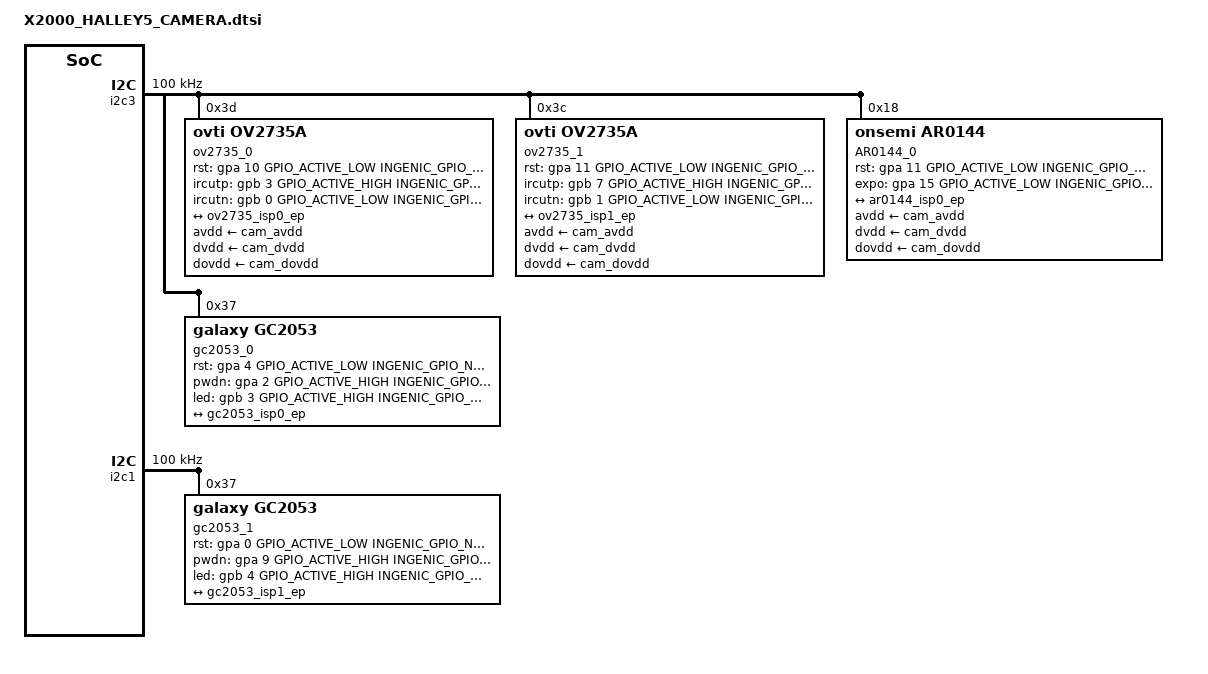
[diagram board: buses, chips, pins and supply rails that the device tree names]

&i2c3 {
	status = "okay";
	clock-frequency = <100000>;
	timeout = <1000>;
	pinctrl-names = "default";
	pinctrl-0 = <&i2c3_pa>, <&cim_vic_mclk_pe>;


	/*RD_X2000_HALLEY5_CAMERA_V4.3 MIPI interface*/
	ov2735_0:ov2735@3d {
		status = "ok";
		compatible = "ovti,ov2735a";
		reg = <0x3d>;

		avdd-supply = <&cam_avdd>;
		dvdd-supply = <&cam_dvdd>;
		dovdd-supply = <&cam_dovdd>;
		ingenic,rst-gpio = <&gpa 10 GPIO_ACTIVE_LOW INGENIC_GPIO_NOBIAS>;
		ingenic,ircutp-gpio = <&gpb 3 GPIO_ACTIVE_HIGH INGENIC_GPIO_NOBIAS>;
		ingenic,ircutn-gpio = <&gpb 0 GPIO_ACTIVE_LOW INGENIC_GPIO_NOBIAS>;

		port {
			ov2735_ep0:endpoint {
				remote-endpoint = <&ov2735_isp0_ep>;
			};
		};
	};

	/*RD_X2000_HALLEY5_CAMERA_V4.3 MIPI interface*/
	ov2735_1:ov2735@3c {
		status = "ok";
		compatible = "ovti,ov2735a";
		reg = <0x3c>;

		avdd-supply = <&cam_avdd>;
		dvdd-supply = <&cam_dvdd>;
		dovdd-supply = <&cam_dovdd>;
		ingenic,rst-gpio = <&gpa 11 GPIO_ACTIVE_LOW INGENIC_GPIO_NOBIAS>;
		ingenic,ircutp-gpio = <&gpb 7 GPIO_ACTIVE_HIGH INGENIC_GPIO_NOBIAS>;
		ingenic,ircutn-gpio = <&gpb 1 GPIO_ACTIVE_LOW INGENIC_GPIO_NOBIAS>;

		port {
			ov2735_ep1:endpoint {
				remote-endpoint = <&ov2735_isp1_ep>;
			};
		};
	};

	/*RD_X2000_HALLEY5_CAMERA_V5.0 MIPI interface*/
	AR0144_0:AR0144@18 {
		status = "ok";
		compatible = "onsemi,ar0144";
		reg = <0x18>;
		pinctrl-names = "default";

		avdd-supply = <&cam_avdd>;
		dvdd-supply = <&cam_dvdd>;
		dovdd-supply = <&cam_dovdd>;
		ingenic,rst-gpio = <&gpa 11 GPIO_ACTIVE_LOW INGENIC_GPIO_NOBIAS>;
		ingenic,expo-gpio = <&gpa 15 GPIO_ACTIVE_LOW INGENIC_GPIO_NOBIAS>;
		ingenic,expo-oe = <&gpa 10 GPIO_ACTIVE_LOW INGENIC_GPIO_NOBIAS>;

		port {
			AR0144_ep0:endpoint {
				remote-endpoint = <&ar0144_isp0_ep>;
			};
		};
	};

	/*RD_X2000_HALLEY5_CAMERA_V7.0 MIPI ir interface*/
	gc2053_0:gc2053@37 {
		status = "ok";
		compatible = "galaxy,gc2053";
		reg = <0x37>;
		pinctrl-names = "default";

		ingenic,rst-gpio = <&gpa 4 GPIO_ACTIVE_LOW INGENIC_GPIO_NOBIAS>;
		ingenic,pwdn-gpio = <&gpa 2 GPIO_ACTIVE_HIGH INGENIC_GPIO_NOBIAS>;
		ingenic,led-gpio = <&gpb 3 GPIO_ACTIVE_HIGH INGENIC_GPIO_NOBIAS>;

		port {
			gc2053_ep0:endpoint {
				remote-endpoint = <&gc2053_isp0_ep>;
			};
		};
	};
};

&i2c1 {
	status = "okay";
	clock-frequency = <100000>;
	timeout = <1000>;
	pinctrl-names = "default";
	pinctrl-0 = <&i2c1_pc>;

	/*RD_X2000_HALLEY5_CAMERA_V7.0 MIPI rgb interface*/
	gc2053_1:gc2053@37 {
		status = "ok";
		compatible = "galaxy,gc2053";
		reg = <0x37>;
		pinctrl-names = "default";

		ingenic,rst-gpio = <&gpa 0 GPIO_ACTIVE_LOW INGENIC_GPIO_NOBIAS>;
		ingenic,pwdn-gpio = <&gpa 9 GPIO_ACTIVE_HIGH INGENIC_GPIO_NOBIAS>;
		ingenic,led-gpio = <&gpb 4 GPIO_ACTIVE_HIGH INGENIC_GPIO_NOBIAS>;

		port {
			gc2053_ep1:endpoint {
				remote-endpoint = <&gc2053_isp1_ep>;
			};
		};
	};
};



&ov2735_isp0_ep {
	remote-endpoint = <&ov2735_ep0>;
	data-lanes = <0 1>;
	clk-lanes = <2>;
	bus-type = <4>;
};

&ov2735_isp1_ep {
	remote-endpoint = <&ov2735_ep1>;
	data-lanes = <3 4>;
	clk-lanes = <5>;
	bus-type = <4>;
};

&ar0144_isp0_ep {
	remote-endpoint = <&AR0144_ep0>;
	data-lanes = <0 1>;
	clk-lanes = <2>;
};

&gc2053_isp0_ep {
	remote-endpoint = <&gc2053_ep0>;
	data-lanes = <0 1>;
	clk-lanes = <2>;
};
&gc2053_isp1_ep {
	remote-endpoint = <&gc2053_ep1>;
	data-lanes = <3 4>;
	clk-lanes = <5>;
};

